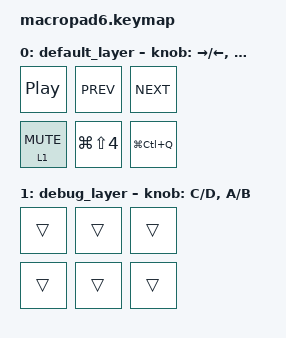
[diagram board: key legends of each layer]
/*
 * 6 键宏键盘 keymap
 *
 * 6 个按键 = 功能按钮（一按即触发动作，不用来打字）
 *   上排: 播放/暂停 | 上一曲 | 下一曲
 *   下排: 静音     | 截图   | 锁屏
 *
 * 旋钮 1: 顺时针 = 光标右移(→) / 逆时针 = 光标左移(←)  —— 文字输入左右
 * 旋钮 2: 顺时针 = 向下滚 / 逆时针 = 向上滚（鼠标滚轮，任何 App 都能滚）
 *
 * 改键有两种方式：
 *   1. 网页实时改（推荐）：USB 连 Mac → Chrome 打开 https://zmk.studio
 *      → 先按住 键1 + 键3 解锁 → 拖拽改键，即时生效、不用重新编译。
 *      注意：ZMK Studio 目前改不了旋钮，旋钮只能改本文件后重新编译。
 *   2. 改这个文件后重新编译刷入。
 */

/* 滚轮灵敏度：数值越大，转一格滚得越快（想慢下来就改小）。
 *
 * 数值含义 = 「每秒滚动多少格」。ZMK 的滚轮行为每 16ms 发一次事件，
 * 而 overlay 里的 steps 已校正为 80 → 「转 1 格 = 触发 1 次事件」，所以
 *   「转一格滚多少」≈ 本数值 × 0.016（取整后发出）。
 *
 *   10   → 0.16 格 → 取整 0 → 完全滚不动
 *   130  → 2 格（很细腻）
 *   200  → 3 格（约等于真鼠标一格滚轮）
 *   250  → 4 格
 *   350  → 5 格
 *   400  → 6 格
 *   500  → 8 格  ← 当前值（每转一格滚 8 行，慢速转动也能明显走起来）
 *   600  → 9 格（偏猛）
 *  1000  → 16 格（很快，慎用）
 *
 * 【为什么不能只让「慢转更灵敏」】每转一格的滚动量是固定的，转得快 = 单位时间
 *   滚得多 —— 和真实鼠标滚轮完全一样，属正常现象，不是故障。
 *   想让整体更快就加大这个数值，想更细腻就减小。
 *   若想让「慢转细腻、快转加速」，那属于系统侧的滚动加速曲线
 *   （Karabiner-Elements / macOS 记忆曲线），ZMK 端改不了。
 *
 * 必须在 include 之前定义，否则不生效。 */
#define ZMK_POINTING_DEFAULT_SCRL_VAL 500

#include <behaviors.dtsi>
#include <dt-bindings/zmk/keys.h>
#include <dt-bindings/zmk/mouse.h>

/ {
    keymap {
        compatible = "zmk,keymap";

        /* ===== 第 0 层：日常使用 =====
         * 注意下排最左那颗是「轻按=静音，长按=进入调试层」 */
        default_layer {
            bindings = <
                &kp C_PLAY_PAUSE   &kp C_PREV               &kp C_NEXT
                &lt 1 C_MUTE       &kp LG(LS(NUMBER_4))     &kp LG(LC(Q))
            >;
            /* 旋钮 1 = 文字光标左右：顺时针 → 右移，逆时针 → 左移 */
            sensor-bindings = <&inc_dec_cursor RIGHT LEFT>,
                              <&inc_dec_scr SCRL_DOWN SCRL_UP>;
        };

        /* ===== 第 1 层：调试层（长按「静音」键期间生效）=====
         * 这层里两个旋钮都改成直接发字母，绕开滚轮参数，用来判断编码器本身好不好：
         *   长按静音键 + 转旋钮 1 → 打出 c / d
         *   长按静音键 + 转旋钮 2 → 打出 a / b
         * 判断标准是「转 1 格能不能打出 1 个字母」：
         *   1 格 1 个字母 → 编码器、接线、固件都正常
         *   要转 2 格才出 1 个 → overlay 里的 steps 与实际编码器不符（改那个值）
         *   完全打不出      → 那一路的硬件（A/B 虚焊、C 脚没接 GND）
         * 平时用不到这一层，长按「静音」键期间才生效。 */
        debug_layer {
            bindings = <
                &trans &trans &trans
                &trans &trans &trans
            >;
            sensor-bindings = <&inc_dec_kp C D>,
                              <&inc_dec_kp A B>;
        };
    };

    /*
     * 让旋钮能驱动鼠标滚轮。
     * 官方自带的 &inc_dec_kp 只能发键盘按键，滚轮要用鼠标行为 &msc，
     * 所以照抄它的结构、把里面的 &kp 换成 &msc，做成一个
     * 「顺时针触发参数1、逆时针触发参数2」的传感器行为。
     */
    behaviors {
        /* 旋钮 1 用：顺时针/逆时针各触发一个键盘按键（这里接 ← →）。
         *
         * 为什么不直接用官方自带的 &inc_dec_kp：
         *   它的 tap-ms 是 5ms（官方 binding 里写死的默认值），
         *   5ms 的按下-松开实在太短，连续转动时偶发丢键。
         *   这里单独做一个 25ms 的版本，保证「转一格 = 稳稳一次 → 或 ←」。
         *   25ms 仍远小于系统判定「按住重复」的时间，不会变成按住连发。 */
        inc_dec_cursor: inc_dec_cursor {
            compatible = "zmk,behavior-sensor-rotate-var";
            #sensor-binding-cells = <2>;
            bindings = <&kp>, <&kp>;
            tap-ms = <25>;
        };

        inc_dec_scr: inc_dec_scr {
            compatible = "zmk,behavior-sensor-rotate-var";
            #sensor-binding-cells = <2>;
            bindings = <&msc>, <&msc>;

            /* ！！！这个参数是旋钮能不能滚的关键！！！
             * &msc 每 16ms 才发一次滚轮事件，而 tap-ms 是「子行为按住多久」。
             * 默认 5ms —— 5ms 内就松开了，滚轮事件一次都发不出来，转旋钮毫无反应。
             * 必须设成 > 16ms，才能让第一次（也是唯一一次）滚轮事件发出去。
             * 25ms 既保证发得出去，又不会被误判成「按住不放」。 */
            tap-ms = <25>;
        };
    };

    /* 按住 键1 + 键3 同时按一下，解除 ZMK Studio 的写入锁 */
    combos {
        compatible = "zmk,combos";

        studio_unlock_combo {
            timeout-ms = <70>;
            key-positions = <0 2>;
            bindings = <&studio_unlock>;
        };
    };
};
